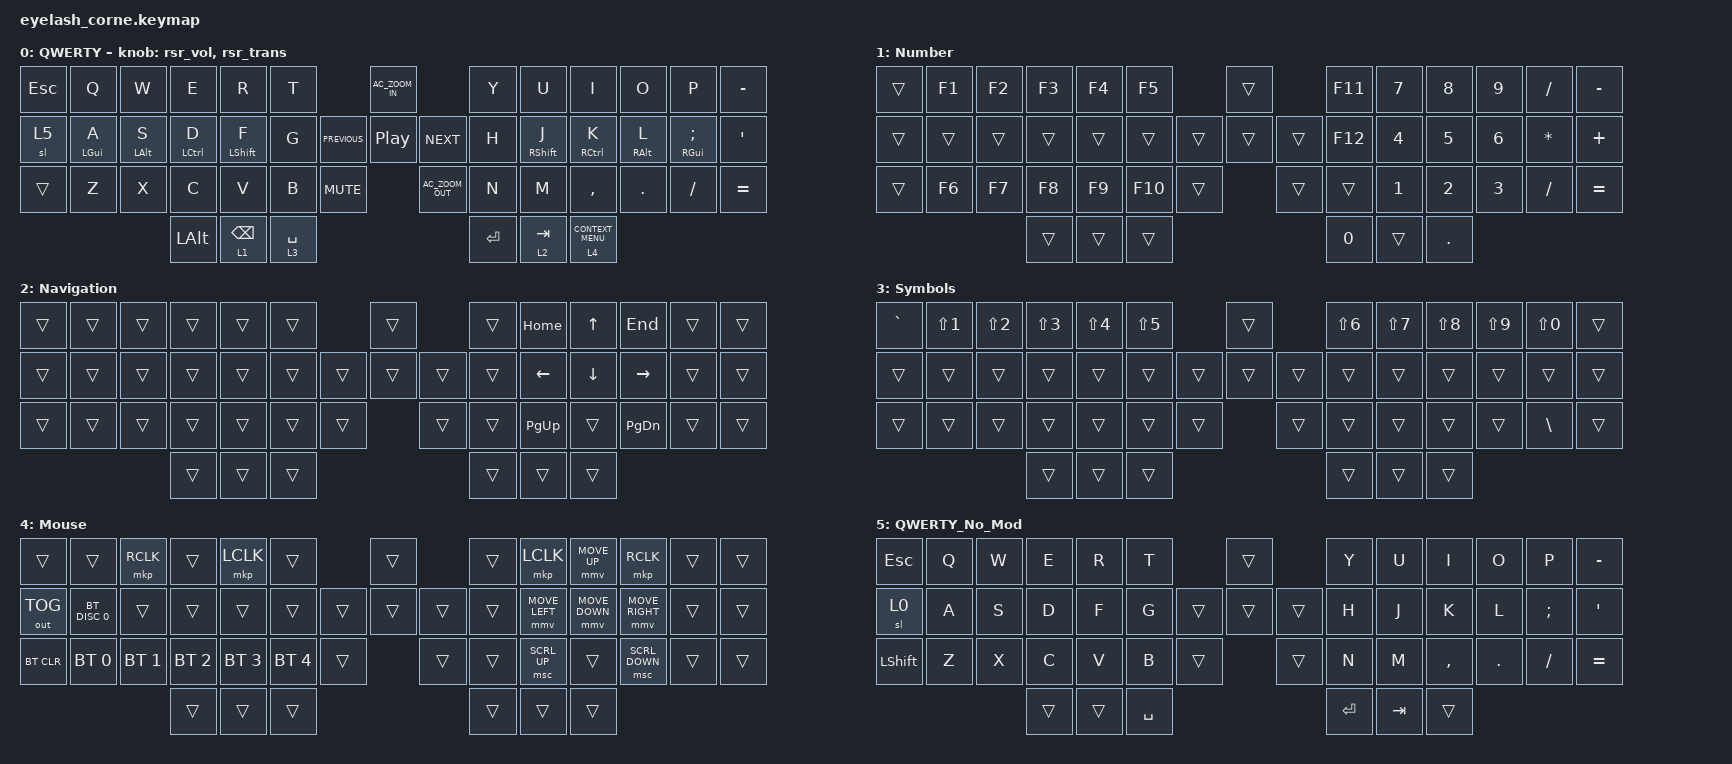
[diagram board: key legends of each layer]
#define ZMK_POINTING_DEFAULT_MOVE_VAL 1200  // 600
#define ZMK_POINTING_DEFAULT_SCRL_VAL 25   // 10

#include <input/processors.dtsi>
#include <zephyr/dt-bindings/input/input-event-codes.h>
#include <behaviors/runtime-sensor-rotate.dtsi>
#include <behaviors.dtsi>
#include <dt-bindings/zmk/bt.h>
#include <dt-bindings/zmk/keys.h>
#include <dt-bindings/zmk/outputs.h>
#include <dt-bindings/zmk/pointing.h>

&soft_off { hold-time-ms = <2000>; };

/ {
    behaviors {
        td0: td0 {
            compatible = "zmk,behavior-tap-dance";
            display-name = "Shift/Caps Lock Tap Dance";
            #binding-cells = <0>;
            bindings = <&kp LEFT_SHIFT>, <&kp CAPS>;
        };

        rsr_vol: rsr_vol {
            compatible = "zmk,behavior-runtime-sensor-rotate";
            #sensor-binding-cells = <0>;
            tap-ms = <5>;
            cw-binding = <&kp C_VOL_UP>;
            ccw-binding = <&kp C_VOL_DN>;
        };

        rsr_trans: rsr_trans {
            compatible = "zmk,behavior-runtime-sensor-rotate";
            #sensor-binding-cells = <0>;
            tap-ms = <0>;
        };

        HR_Shift: HR_Shift {
            compatible = "zmk,behavior-hold-tap";
            label = "HR_SHIFT";
            bindings = <&kp>, <&kp>;

            #binding-cells = <2>;
            tapping-term-ms = <100>;
            flavor = "tap-preferred";
        };

        HR_other: HR_other {
            compatible = "zmk,behavior-hold-tap";
            label = "HR_OTHER";
            bindings = <&kp>, <&kp>;

            #binding-cells = <2>;
            tapping-term-ms = <170>;
            flavor = "tap-preferred";
        };
    };

    combos {
        compatible = "zmk,combos";

        softoff {
            bindings = <&soft_off>;
            key-positions = <1 15 29>;
        };

        Backspace {
            bindings = <&kp BACKSPACE>;
            key-positions = <25 26>;
            layers = <0>;
        };

        Delete {
            bindings = <&kp DELETE>;
            key-positions = <26 27>;
            layers = <0>;
        };

        Op_Parentheses {
            bindings = <&kp LEFT_PARENTHESIS>;
            key-positions = <36 37>;
            layers = <0>;
        };

        Cl_Parentheses {
            bindings = <&kp RIGHT_PARENTHESIS>;
            key-positions = <37 38>;
            layers = <0>;
        };

        Op_Sq_Brackets {
            bindings = <&kp LEFT_BRACKET>;
            key-positions = <38 39>;
            layers = <0>;
        };

        Cl_Sq_Brackets {
            bindings = <&kp RIGHT_BRACKET>;
            key-positions = <39 40>;
            layers = <0>;
        };

        Caps_word {
            bindings = <&caps_word>;
            key-positions = <14 26>;
        };

        Caps_lock {
            bindings = <&kp CAPSLOCK>;
            key-positions = <17 23>;
        };
    };

    keymap {
        compatible = "zmk,keymap";

        default_layer {
            display-name = "QWERTY";
            bindings = <
&kp ESC  &kp Q                 &kp W                 &kp E              &kp R                   &kp T                                      &kp C_AC_ZOOM_IN               &kp Y      &kp U                    &kp I                 &kp O                  &kp P                          &kp MINUS
&sl 5    &HR_other LEFT_GUI A  &HR_other LEFT_ALT S  &HR_other LCTRL D  &HR_Shift LEFT_SHIFT F  &kp G                      &kp C_PREVIOUS  &kp C_PLAY_PAUSE   &kp C_NEXT  &kp H      &HR_Shift RIGHT_SHIFT J  &HR_other RCTRL K     &HR_other RIGHT_ALT L  &HR_other RIGHT_GUI SEMICOLON  &kp SQT
&trans   &kp Z                 &kp X                 &kp C              &kp V                   &kp B        &kp K_MUTE                    &kp C_AC_ZOOM_OUT              &kp N      &kp M                    &kp COMMA             &kp DOT                &kp FSLH                       &kp EQUAL
                                                     &kp LEFT_ALT       &lt 1 BACKSPACE         &lt 3 SPACE                                                               &kp ENTER  &lt 2 TAB                &lt 4 K_CONTEXT_MENU
            >;

            sensor-bindings = <&rsr_vol &rsr_trans>;
        };

        Number {
            bindings = <
&trans  &kp F1  &kp F2  &kp F3  &kp F4  &kp F5                     &trans          &kp F11       &kp NUMBER_7  &kp NUMBER_8  &kp NUMBER_9  &kp SLASH     &kp MINUS
&trans  &trans  &trans  &trans  &trans  &trans             &trans  &trans  &trans  &kp F12       &kp NUMBER_4  &kp NUMBER_5  &kp NUMBER_6  &kp ASTERISK  &kp PLUS
&trans  &kp F6  &kp F7  &kp F8  &kp F9  &kp F10  &trans            &trans          &trans        &kp NUMBER_1  &kp NUMBER_2  &kp NUMBER_3  &kp SLASH     &kp EQUAL
                        &trans  &trans  &trans                                     &kp NUMBER_0  &trans        &kp PERIOD
            >;
        };

        Navigation {
            bindings = <
&trans  &trans  &trans  &trans  &trans  &trans                    &trans          &trans  &kp HOME   &kp UP    &kp END    &trans  &trans
&trans  &trans  &trans  &trans  &trans  &trans            &trans  &trans  &trans  &trans  &kp LEFT   &kp DOWN  &kp RIGHT  &trans  &trans
&trans  &trans  &trans  &trans  &trans  &trans  &trans            &trans          &trans  &kp PG_UP  &trans    &kp PG_DN  &trans  &trans
                        &trans  &trans  &trans                                    &trans  &trans     &trans
            >;
        };

        Symbols {
            bindings = <
&kp GRAVE  &kp LS(N1)  &kp LS(N2)  &kp LS(N3)  &kp LS(N4)  &kp LS(N5)                    &trans          &kp LS(N6)  &kp LS(N7)  &kp LS(N8)  &kp LS(N9)  &kp LS(N0)     &trans
&trans     &trans      &trans      &trans      &trans      &trans                &trans  &trans  &trans  &trans      &trans      &trans      &trans      &trans         &trans
&trans     &trans      &trans      &trans      &trans      &trans      &trans            &trans          &trans      &trans      &trans      &trans      &kp BACKSLASH  &trans
                                   &trans      &trans      &trans                                        &trans      &trans      &trans
            >;
        };

        Mouse {
            bindings = <
&trans        &trans         &mkp RCLK     &trans        &mkp LCLK     &trans                          &trans          &trans  &mkp LCLK       &mmv MOVE_UP    &mkp RCLK        &trans  &trans
&out OUT_TOG  &bt BT_DISC 0  &trans        &trans        &trans        &trans                  &trans  &trans  &trans  &trans  &mmv MOVE_LEFT  &mmv MOVE_DOWN  &mmv MOVE_RIGHT  &trans  &trans
&bt BT_CLR    &bt BT_SEL 0   &bt BT_SEL 1  &bt BT_SEL 2  &bt BT_SEL 3  &bt BT_SEL 4  &trans            &trans          &trans  &msc SCRL_UP    &trans          &msc SCRL_DOWN   &trans  &trans
                                           &trans        &trans        &trans                                          &trans  &trans          &trans
            >;
        };

        QWERTY_No_Mod {
            bindings = <
&kp ESC         &kp Q  &kp W  &kp E   &kp R   &kp T                        &trans          &kp Y      &kp U    &kp I      &kp O    &kp P     &kp MINUS
&sl 0           &kp A  &kp S  &kp D   &kp F   &kp G                &trans  &trans  &trans  &kp H      &kp J    &kp K      &kp L    &kp SEMI  &kp SQT
&kp LEFT_SHIFT  &kp Z  &kp X  &kp C   &kp V   &kp B      &trans            &trans          &kp N      &kp M    &kp COMMA  &kp DOT  &kp FSLH  &kp EQUAL
                              &trans  &trans  &kp SPACE                                    &kp ENTER  &kp TAB  &trans
            >;
        };
    };
};
